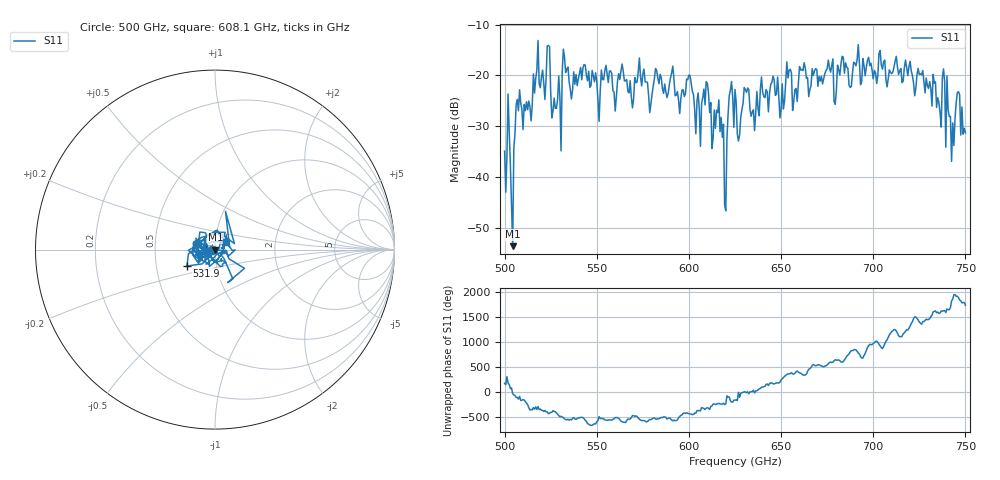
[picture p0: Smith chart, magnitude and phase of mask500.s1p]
!Created with skrf (http://scikit-rf.org).
# GHz S MA R 50.0
!freq magS11 angS11
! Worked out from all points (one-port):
!   401 points, 500 GHz to 750 GHz, reference 50 ohm
!   lowest |S11| = -53.6 dB at 504.4 GHz (marker M1), VSWR 1.00, Z = 50.2 - j0.0977 ohm
!   |S11| at or under -10 dB: start of sweep to end of sweep
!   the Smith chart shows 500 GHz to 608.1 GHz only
!   S11 on the Smith chart (normalised r, x): 500 GHz: 0.96, +0.00; 531.9 GHz: 0.72, -0.14; 608.1 GHz: 1.13, +0.09
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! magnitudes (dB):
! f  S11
! 500 GHz  -34.9
! 502.5 GHz  -31.1
! 504.4 GHz  -53.6
! 507.5 GHz  -27.0
! 513.8 GHz  -26.2
! 516.9 GHz  -20.6
! 523.8 GHz  -14.1
! 526.9 GHz  -24.5
! 531.2 GHz  -19.4
! 531.9 GHz  -14.8
! 562.5 GHz  -20.8
! 579.4 GHz  -25.6
! 590.6 GHz  -19.5
! 593.8 GHz  -23.2
! 605 GHz  -23.5
! 608.1 GHz  -22.7
! 616.2 GHz  -24.8
! 619.4 GHz  -45.5
! 622.5 GHz  -22.9
! 625 GHz  -22.8
! 656.2 GHz  -26.9
! 687.5 GHz  -22.4
! 718.8 GHz  -20.1
! 735.6 GHz  -25.4
! 738.8 GHz  -21.2
! 742.5 GHz  -36.9
! 745.6 GHz  -23.4
! 750 GHz  -31.3
